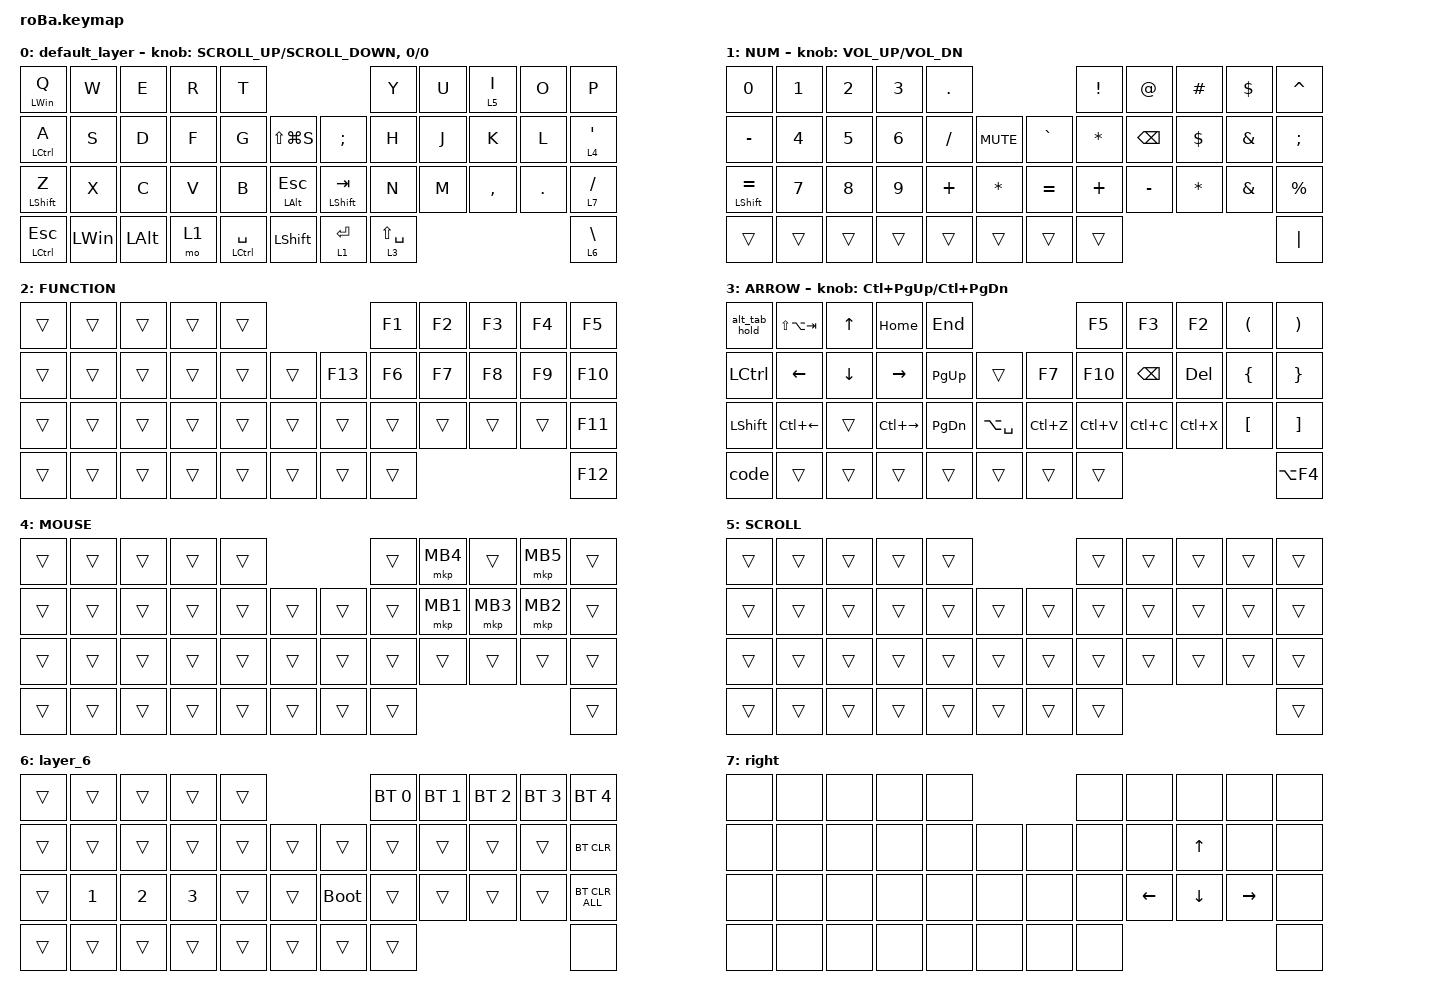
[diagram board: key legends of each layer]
#include <behaviors.dtsi>
#include <dt-bindings/zmk/bt.h>
#include <dt-bindings/zmk/keys.h>
#include <dt-bindings/zmk/pointing.h>

#define MOUSE 4
#define SCROLL 5
#define NUM 6

&mt {
    flavor = "balanced";
    quick-tap-ms = <0>;
};

/ {
    combos {
        compatible = "zmk,combos";

        tab {
            bindings = <&kp TAB>;
            key-positions = <0 1>;
        };

        shift_tab {
            bindings = <&kp LS(TAB)>;
            key-positions = <10 11>;
        };

        henkan {
            bindings = <&kp F14>;
            key-positions = <13 12>;
            layers = <0>;
        };

        muhenkan {
            bindings = <&kp F13>;
            key-positions = <11 12>;
            layers = <0>;
        };

        ime_toggle {
            bindings = <&kp LC(SPACE)>;
            key-positions = <14 13>;
            layers = <0>;
        };

        haihun_old {
            bindings = <&kp MINUS>;
            key-positions = <7 8>;
        };

        under_bar {
            bindings = <&kp UNDER>;
            key-positions = <31 32>;
        };

        equal {
            bindings = <&kp EQUAL>;
            key-positions = <19 20>;
        };

        question {
            bindings = <&kp QUESTION>;
            key-positions = <33 32>;
        };

        delete {
            bindings = <&kp DELETE>;
            key-positions = <42 33>;
        };

        next_page {
            bindings = <&kp LC(PAGE_DOWN)>;
            key-positions = <24 25>;
        };

        next_up {
            bindings = <&kp LC(PAGE_UP)>;
            key-positions = <24 23>;
        };

        format {
            bindings = <&kp LA(LS(F))>;
            key-positions = <4 3>;
        };

        F10tap {
            bindings = <&kp F10>;
            key-positions = <13 11>;
        };

        semicolon {
            bindings = <&kp SEMICOLON>;
            key-positions = <20 21>;
        };

        colon {
            bindings = <&kp COLON>;
            key-positions = <20 19>;
        };
    };

    macros {
        to_layer_0: to_layer_0 {
            compatible = "zmk,behavior-macro-one-param";
            #binding-cells = <1>;
            bindings = <&to 0 &macro_param_1to1 &kp MACRO_PLACEHOLDER>;
            label = "TO_LAYER_0";
        };

        alt_tab_hold: alt_tab_hold {
            compatible = "zmk,behavior-macro";
            #binding-cells = <0>;
            bindings = <&kp TAB>;
            label = "ALT_TAB_HOLD";
        };

        code: code {
            compatible = "zmk,behavior-macro";
            #binding-cells = <0>;
            bindings = <&kp GRAVE &kp GRAVE &kp GRAVE &kp LS(RET) &kp LS(RET) &kp LS(RET) &kp GRAVE &kp GRAVE &kp GRAVE>;
            label = "CODE";
        };
    };

    behaviors {
        lt_to_layer_0: lt_to_layer_0 {
            compatible = "zmk,behavior-hold-tap";
            label = "LAYER_TAP_TO_0";
            bindings = <&mo>, <&to_layer_0>;

            #binding-cells = <2>;
            tapping-term-ms = <200>;
        };
    };

    keymap {
        compatible = "zmk,keymap";

        default_layer {
            bindings = <
&mt LWIN Q        &kp W     &kp E         &kp R  &kp T                                                            &kp Y            &kp U  &lt 5 I    &kp O    &kp P
&mt LCTRL A       &kp S     &kp D         &kp F  &kp G                   &kp LS(LG(S))            &kp SEMICOLON   &kp H            &kp J  &kp K      &kp L    &lt 4 SQT
&mt LEFT_SHIFT Z  &kp X     &kp C         &kp V  &kp B                   &mt LEFT_ALT ESCAPE      &mt LSHIFT TAB  &kp N            &kp M  &kp COMMA  &kp DOT  &lt 7 SLASH
&mt LCTRL ESCAPE  &kp LWIN  &kp LEFT_ALT  &mo 1  &mt LEFT_CONTROL SPACE  &kp LEFT_SHIFT           &lt 1 ENTER     &lt 3 LS(SPACE)                             &lt 6 BACKSLASH
            >;

            sensor-bindings =
                <&inc_dec_kp K_SCROLL_UP K_SCROLL_DOWN>,
                <&inc_dec_kp 0 0>;
        };

        NUM {
            bindings = <
&kp N0                &kp N1  &kp N2  &kp N3  &kp PERIOD                               &kp EXCLAMATION  &kp AT_SIGN    &kp HASH      &kp DOLLAR     &kp CARET
&kp MINUS             &kp N4  &kp N5  &kp N6  &kp SLASH   &kp K_MUTE        &kp GRAVE  &kp ASTERISK     &kp BACKSPACE  &kp DOLLAR    &kp AMPERSAND  &kp SEMICOLON
&mt LEFT_SHIFT EQUAL  &kp N7  &kp N8  &kp N9  &kp PLUS    &kp ASTERISK      &kp EQUAL  &kp PLUS         &kp MINUS      &kp ASTERISK  &kp AMPERSAND  &kp PERCENT
&trans                &trans  &trans  &trans  &trans      &trans            &trans     &trans                                                       &kp PIPE
            >;

            sensor-bindings = <&inc_dec_kp C_VOLUME_UP C_VOL_DN>;
        };

        FUNCTION {
            bindings = <
&trans  &trans  &trans  &trans  &trans                       &kp F1  &kp F2  &kp F3  &kp F4  &kp F5
&trans  &trans  &trans  &trans  &trans  &trans      &kp F13  &kp F6  &kp F7  &kp F8  &kp F9  &kp F10
&trans  &trans  &trans  &trans  &trans  &trans      &trans   &trans  &trans  &trans  &trans  &kp F11
&trans  &trans  &trans  &trans  &trans  &trans      &trans   &trans                          &kp F12
            >;
        };

        ARROW {
            bindings = <
&alt_tab_hold   &kp LS(LA(TAB))     &kp UP_ARROW    &kp HOME             &kp END                                    &kp F5     &kp F3         &kp F2      &kp LPAR          &kp RPAR
&kp LCTRL       &kp LEFT_ARROW      &kp DOWN_ARROW  &kp RIGHT_ARROW      &kp PAGE_UP  &trans             &kp F7     &kp F10    &kp BACKSPACE  &kp DELETE  &kp LEFT_BRACE    &kp RIGHT_BRACE
&kp LEFT_SHIFT  &kp LC(LEFT_ARROW)  &trans          &kp LC(RIGHT_ARROW)  &kp PG_DN    &kp LA(SPACE)      &kp LC(Z)  &kp LC(V)  &kp LC(C)      &kp LC(X)   &kp LEFT_BRACKET  &kp RIGHT_BRACKET
&code           &trans              &trans          &trans               &trans       &trans             &trans     &trans                                                  &kp LA(F4)
            >;

            sensor-bindings = <&inc_dec_kp LC(PAGE_UP) LC(PAGE_DOWN)>;
        };

        MOUSE {
            bindings = <
&trans  &trans  &trans  &trans  &trans                      &trans  &mkp MB4  &trans    &mkp MB5  &trans
&trans  &trans  &trans  &trans  &trans  &trans      &trans  &trans  &mkp MB1  &mkp MB3  &mkp MB2  &trans
&trans  &trans  &trans  &trans  &trans  &trans      &trans  &trans  &trans    &trans    &trans    &trans
&trans  &trans  &trans  &trans  &trans  &trans      &trans  &trans                                &trans
            >;
        };

        SCROLL {
            bindings = <
&trans  &trans  &trans  &trans  &trans                      &trans  &trans  &trans  &trans  &trans
&trans  &trans  &trans  &trans  &trans  &trans      &trans  &trans  &trans  &trans  &trans  &trans
&trans  &trans  &trans  &trans  &trans  &trans      &trans  &trans  &trans  &trans  &trans  &trans
&trans  &trans  &trans  &trans  &trans  &trans      &trans  &trans                          &trans
            >;
        };

        layer_6 {
            bindings = <
&trans  &trans        &trans        &trans        &trans                           &bt BT_SEL 0  &bt BT_SEL 1  &bt BT_SEL 2  &bt BT_SEL 3  &bt BT_SEL 4
&trans  &trans        &trans        &trans        &trans  &trans      &trans       &trans        &trans        &trans        &trans        &bt BT_CLR
&trans  &kp NUMBER_1  &kp NUMBER_2  &kp NUMBER_3  &trans  &trans      &bootloader  &trans        &trans        &trans        &trans        &bt BT_CLR_ALL
&trans  &trans        &trans        &trans        &trans  &trans      &trans       &trans                                                  &none
            >;
        };

        right {
            bindings = <
&none  &none  &none  &none  &none                    &none  &none           &none           &none            &none
&none  &none  &none  &none  &none  &none      &none  &none  &none           &kp UP_ARROW    &none            &none
&none  &none  &none  &none  &none  &none      &none  &none  &kp LEFT_ARROW  &kp DOWN_ARROW  &kp RIGHT_ARROW  &none
&none  &none  &none  &none  &none  &none      &none  &none                                                   &none
            >;
        };
    };
};
